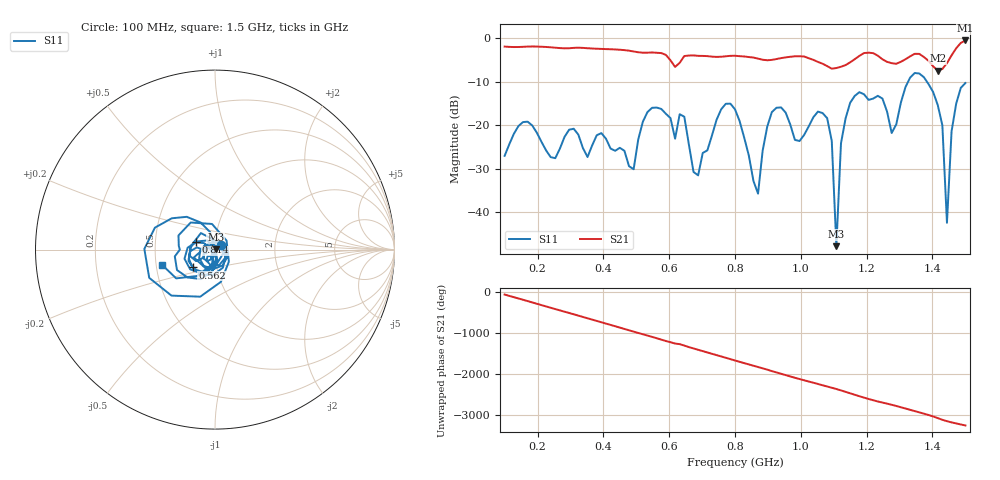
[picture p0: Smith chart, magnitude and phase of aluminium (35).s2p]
! NanoVNA-App
! Date: 2025-09-26 09:58:20
! Start: 100MHz Stop: 1,5GHz Points: 101
! S-Parameter data: F S11 S21 S12 S22
# Hz S RI R 50
!  Frequency  S11_Real  S11_Imag  S21_Real  S21_Imag  S12_Real  S12_Imag  S22_Real  S22_Imag
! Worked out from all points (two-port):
!   101 points, 100 MHz to 1.5 GHz, reference 50 ohm
!   highest |S21| = -0.51 dB at 1.5 GHz (marker M1); lowest = -7.5 dB at 1.416 GHz (marker M2)
!   |S21| within 3 dB of the highest: start of sweep to 579.5 MHz; 1.19 GHz to 1.222 GHz (32.38 MHz wide, 2.68 % of centre) (the widest 2 of 3)
!   lowest |S11| = -47.7 dB at 1.108 GHz (marker M3), VSWR 1.01, Z = 50.4 + j0.0582 ohm
!   |S11| at or under -10 dB: start of sweep to 1.326 GHz; 1.383 GHz to end of sweep
!   S12 and S22 are empty: the file has one direction only
!   S11 on the Smith chart (normalised r, x): 100 MHz: 1.07, +0.06; 562 MHz: 0.76, -0.16; 814 MHz: 0.81, +0.07; 1.5 GHz: 0.54, -0.10
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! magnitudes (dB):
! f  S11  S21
! 100 MHz  -27.0  -1.9
! 338 MHz  -25.2  -2.2
! 492 MHz  -30.1  -3.0
! 562 MHz  -15.9  -3.3
! 576 MHz  -16.2  -3.4
! 688 MHz  -31.5  -4.0
! 800 MHz  -16.3  -4.0
! 814 MHz  -19.0  -4.1
! 870 MHz  -35.7  -4.7
! 912 MHz  -17.0  -5.0
! 1.038 GHz  -18.2  -5.0
! 1.094 GHz  -23.6  -7.0
! 1.108 GHz  -47.7  -6.8
! 1.122 GHz  -24.1  -6.6
! 1.15 GHz  -14.8  -5.5
! 1.276 GHz  -21.8  -5.7
! 1.346 GHz  -8.0  -3.6
! 1.416 GHz  -15.3  -7.5
! 1.43 GHz  -20.0  -7.1
! 1.444 GHz  -42.4  -5.7
! 1.458 GHz  -21.4  -3.9
! 1.5 GHz  -10.3  -0.5
